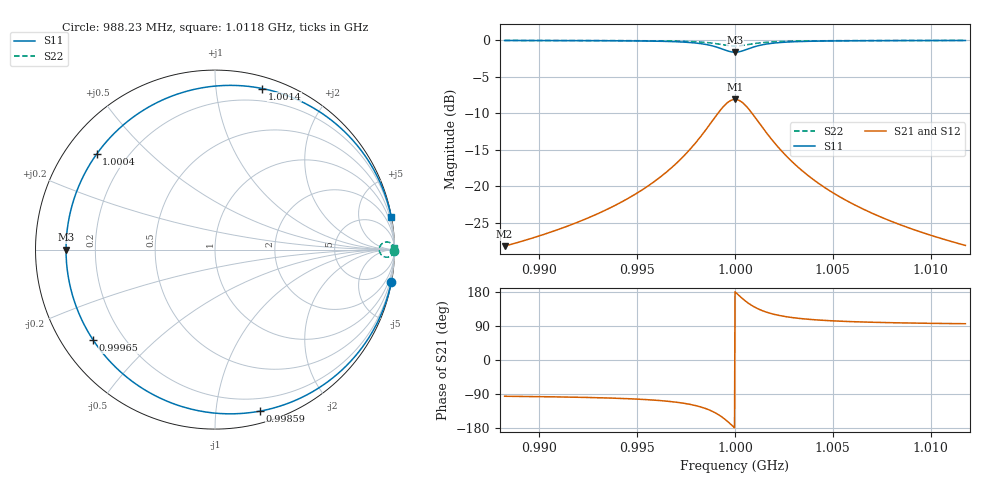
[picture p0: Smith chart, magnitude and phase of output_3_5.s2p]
! File generated for n1 = 3, n2 = 5
! b1 = 21.544347
! b2 = 1.000000
! Q0 = 10000.000000
! f0 = 1000000000.000000
! n = 1001
! rel_span = 10.000000
# Hz S RI R 50
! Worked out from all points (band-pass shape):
!   1001 points, 988.23 MHz to 1.0118 GHz, reference 50 ohm
!   highest |S21| = -8.08 dB at 1 GHz (marker M1); lowest = -28.2 dB at 988.23 MHz (marker M2)
!   |S21| within 3 dB of the highest: 998.8263 MHz to 1.001175 GHz (2.349 MHz wide, 0.235 % of centre)
!   lowest |S11| = -1.6 dB at 1 GHz (marker M3), VSWR 10.77, Z = 4.64 + j0 ohm
!   |S11| at or under -10 dB: nowhere
!   |S22| runs from -0.8 to 0.0 dB; largest |S21 - S12| = 0
!   S11 on the Smith chart (normalised r, x): 988.23 MHz: 0, -11; 998.59 MHz: 0.09, -1.31; 999.65 MHz: 0.09, -0.33; 1.0004 GHz: 0.09, +0.35; 1.0014 GHz: 0.09, +1.33; 1.0118 GHz: 0, +11
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9.882278e8  0.9821 -0.1801  -0.00386 -0.0388  -0.00386 -0.0388  0.9992 -0.00836
9.921597e8  0.96 -0.2677  -0.00863 -0.0577  -0.00863 -0.0577  0.9981 -0.0124
9.943964e8  0.9231 -0.3673  -0.0166 -0.0791  -0.0166 -0.0791  0.9964 -0.017
9.960916e8  0.8483 -0.5046  -0.0327 -0.1087  -0.0327 -0.1087  0.993 -0.0234
9.975985e8  0.6461 -0.7228  -0.0762 -0.1557  -0.0762 -0.1557  0.9836 -0.0335
9.9814e8  0.4773 -0.8267  -0.1126 -0.1781  -0.1126 -0.1781  0.9757 -0.0384
9.985873e8  0.2506 -0.8999  -0.1615 -0.1939  -0.1615 -0.1939  0.9652 -0.0418
9.991759e8  -0.2279 -0.8599  -0.2645 -0.1853  -0.2645 -0.1853  0.943 -0.0399
9.994114e8  -0.4639 -0.7322  -0.3154 -0.1577  -0.3154 -0.1577  0.9321 -0.034
9.996468e8  -0.6789 -0.5038  -0.3617 -0.1085  -0.3617 -0.1085  0.9221 -0.0234
1e9  -0.8301 0  -0.3943 0  -0.3943 0  0.9151 0
1.000188e9  -0.7844 0.2855  -0.3844 0.0615  -0.3844 0.0615  0.9172 0.0133
1.000377e9  -0.6602 0.5312  -0.3577 0.1144  -0.3577 0.1144  0.9229 0.0247
1.000589e9  -0.4643 0.7319  -0.3155 0.1577  -0.3155 0.1577  0.932 0.034
1.000824e9  -0.2286 0.8597  -0.2647 0.1852  -0.2647 0.1852  0.943 0.0399
1.001083e9  0.00833 0.9118  -0.2136 0.1965  -0.2136 0.1965  0.954 0.0423
1.001436e9  0.2639 0.8974  -0.1586 0.1933  -0.1586 0.1933  0.9658 0.0417
1.001884e9  0.4852 0.8229  -0.1109 0.1773  -0.1109 0.1773  0.9761 0.0382
1.002425e9  0.6503 0.7195  -0.0753 0.155  -0.0753 0.155  0.9838 0.0334
1.003932e9  0.8489 0.5037  -0.0326 0.1085  -0.0326 0.1085  0.993 0.0234
1.007864e9  0.9596 0.269  -0.00871 0.0579  -0.00871 0.0579  0.9981 0.0125
1.011772e9  0.9817 0.1822  -0.00395 0.0393  -0.00395 0.0393  0.9991 0.00846
